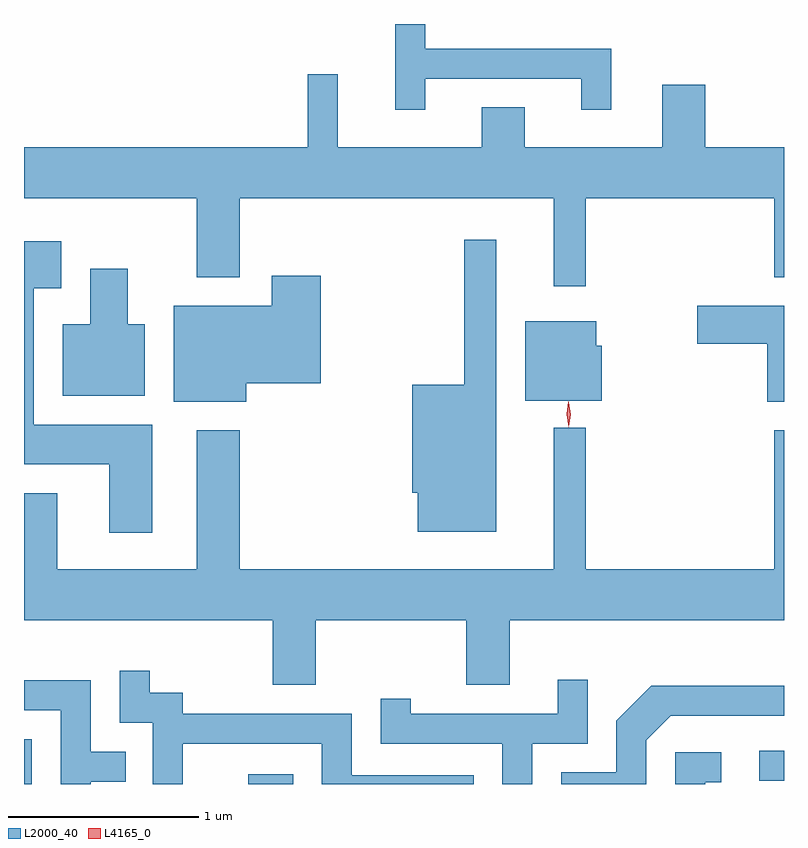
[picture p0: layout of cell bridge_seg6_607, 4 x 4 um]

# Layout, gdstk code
import gdstk
lib = gdstk.Library(unit=1e-6, precision=1e-09)
def R(c, l, rs):  # rectangles x0, y0, x1, y1
    for r in rs: c.add(gdstk.rectangle(r[:2], r[2:], *l))
def P(c, l, *ps):  # polygons
    for p in ps: c.add(gdstk.Polygon(p, *l))
L2000_40 = (2000, 40)
L4165_0 = (4165, 0)

bridge_seg6_607 = lib.new_cell('bridge_seg6_607')
R(bridge_seg6_607, L2000_40, [(248.373,1602.453,248.414,1602.689), (249.553,1602.453,249.789,1602.504), (252.243,1602.471,252.373,1602.629)])
P(bridge_seg6_607, L2000_40, [(250.484,1606.166),(251.306,1606.166),(251.306,1606.003),(251.464,1606.003),(251.464,1606.324),(250.484,1606.324),(250.484,1606.453),(250.326,1606.453),(250.326,1606.003),(250.484,1606.003)],
  [(251.329,1605.536),(252.321,1605.536),(252.321,1605.121),(252.373,1605.121),(252.373,1605.804),(251.959,1605.804),(251.959,1606.134),(251.731,1606.134),(251.731,1605.804),(251.009,1605.804),(251.009,1606.014),(250.781,1606.014),(250.781,1605.804),(250.024,1605.804),(250.024,1606.188),(249.866,1606.188),(249.866,1605.804),(248.373,1605.804),(248.373,1605.536),(249.281,1605.536),(249.281,1605.121),(249.509,1605.121),(249.509,1605.536),(251.161,1605.536),(251.161,1605.073),(251.329,1605.073)],
  [(250.859,1605.318),(250.691,1605.318),(250.691,1604.554),(250.416,1604.554),(250.416,1603.986),(250.446,1603.986),(250.446,1603.781),(250.859,1603.781)],
  [(249.049,1604.344),(248.424,1604.344),(248.424,1605.061),(248.569,1605.061),(248.569,1605.309),(248.373,1605.309),(248.373,1604.136),(248.821,1604.136),(248.821,1603.776),(249.049,1603.776)],
  [(249.009,1604.874),(248.919,1604.874),(248.919,1605.164),(248.721,1605.164),(248.721,1604.874),(248.576,1604.874),(248.576,1604.496),(249.009,1604.496)],
  [(249.544,1604.561),(249.934,1604.561),(249.934,1605.129),(249.676,1605.129),(249.676,1604.969),(249.161,1604.969),(249.161,1604.466),(249.544,1604.466)],
  [(252.373,1604.969),(251.916,1604.969),(251.916,1604.771),(252.286,1604.771),(252.286,1604.466),(252.373,1604.466)],
  [(251.414,1604.759),(251.384,1604.759),(251.384,1604.889),(251.011,1604.889),(251.011,1604.471),(251.414,1604.471)],
  [(249.909,1603.316),(250.701,1603.316),(250.701,1602.976),(250.929,1602.976),(250.929,1603.316),(252.373,1603.316),(252.373,1604.314),(252.321,1604.314),(252.321,1603.584),(251.329,1603.584),(251.329,1604.328),(251.161,1604.328),(251.161,1603.584),(249.509,1603.584),(249.509,1604.314),(249.281,1604.314),(249.281,1603.584),(248.549,1603.584),(248.549,1603.984),(248.373,1603.984),(248.373,1603.316),(249.681,1603.316),(249.681,1602.976),(249.909,1602.976)],
  [(249.209,1602.666),(249.941,1602.666),(249.941,1602.453),(250.739,1602.453),(250.739,1602.499),(250.099,1602.499),(250.099,1602.824),(249.209,1602.824),(249.209,1602.934),(249.034,1602.934),(249.034,1603.048),(248.876,1603.048),(248.876,1602.776),(249.051,1602.776),(249.051,1602.453),(249.209,1602.453)],
  [(251.049,1602.666),(251.339,1602.666),(251.339,1603.003),(251.181,1603.003),(251.181,1602.824),(250.409,1602.824),(250.409,1602.903),(250.251,1602.903),(250.251,1602.666),(250.891,1602.666),(250.891,1602.453),(251.049,1602.453)],
  [(248.724,1602.466),(248.908,1602.466),(248.908,1602.624),(248.724,1602.624),(248.724,1602.999),(248.373,1602.999),(248.373,1602.841),(248.566,1602.841),(248.566,1602.453),(248.724,1602.453)],
  [(251.649,1602.684),(251.777,1602.811),(252.373,1602.811),(252.373,1602.969),(251.674,1602.969),(251.491,1602.787),(251.491,1602.514),(251.201,1602.514),(251.201,1602.453),(251.649,1602.453)],
  [(251.959,1602.461),(252.043,1602.461),(252.043,1602.619),(251.801,1602.619),(251.801,1602.453),(251.959,1602.453)])
P(bridge_seg6_607, L4165_0, [(251.24,1604.33),(251.24,1604.331),(251.229,1604.398),(251.238,1604.465),(251.238,1604.465),(251.239,1604.465),(251.249,1604.398),(251.241,1604.331)],
  [(251.241,1604.333),(251.24,1604.334),(251.231,1604.397),(251.24,1604.461),(251.241,1604.461),(251.241,1604.461),(251.251,1604.397),(251.241,1604.334)])

lib.write_gds('bridge_seg6_607.gds')
